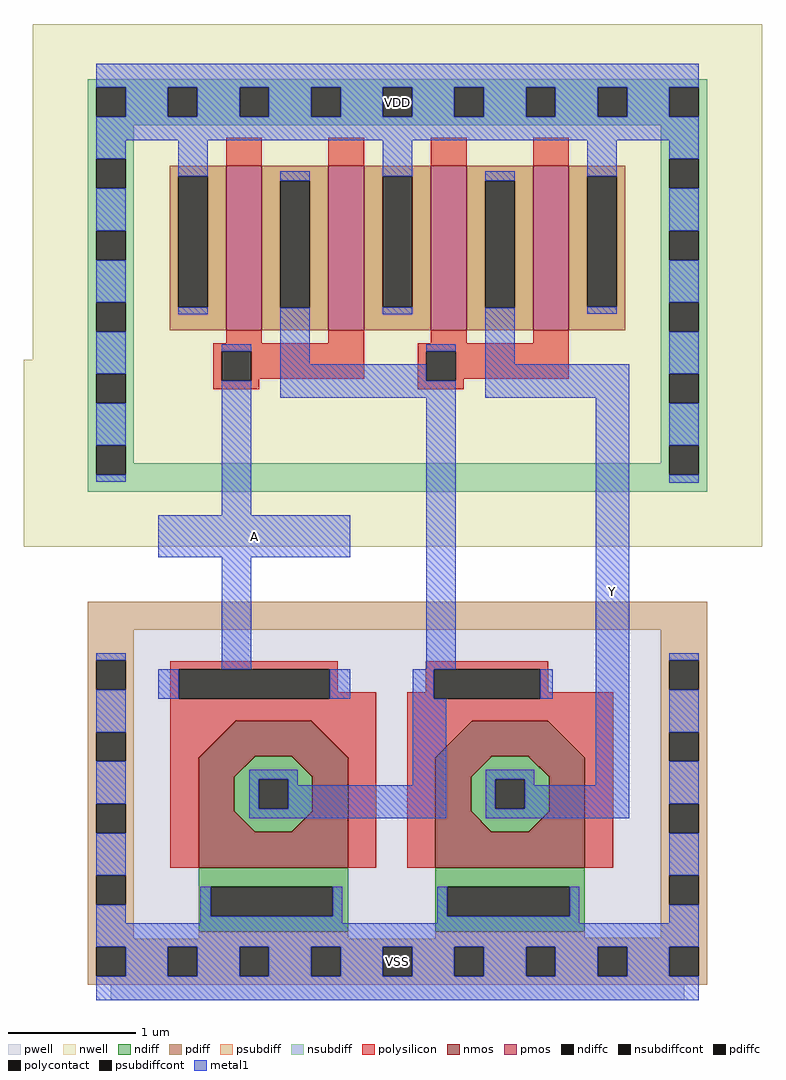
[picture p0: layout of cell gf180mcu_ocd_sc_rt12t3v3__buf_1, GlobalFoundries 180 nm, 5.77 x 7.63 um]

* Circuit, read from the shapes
.subckt gf180mcu_ocd_sc_rt12t3v3__buf_1 VDD VSS Y A
XM1 n1 A VSS VSS nfet_03v3 w=1.785u l=0.5364u
XM2 Y n1 VSS VSS nfet_03v3 w=1.785u l=0.5313u
XM3 n1 A VDD VDD pfet_03v3 w=1.285u l=0.28u m=2
XM4 Y n1 VDD VDD pfet_03v3 w=1.285u l=0.28u m=2
.ends

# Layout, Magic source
magic
tech gf180mcuD
magscale 1 10
<< nwell >>
rect -122 941 1018 1466
rect -136 649 1018 941
<< pwell >>
rect -36 -36 932 563
rect 0 -60 896 -36
<< nmos >>
tri 137 319 195 377 se
rect 195 321 313 377
rect 195 319 223 321
tri 223 319 225 321 nw
tri 283 319 285 321 ne
rect 285 319 313 321
tri 313 319 371 377 sw
rect 137 203 193 319
tri 193 289 223 319 nw
tri 285 289 315 319 ne
tri 193 203 225 235 sw
tri 283 203 315 235 se
rect 315 203 371 319
rect 137 147 371 203
tri 507 319 565 377 se
rect 565 321 683 377
rect 565 319 593 321
tri 593 319 595 321 nw
tri 653 319 655 321 ne
rect 655 319 683 321
tri 683 319 741 377 sw
rect 507 203 563 319
tri 563 289 593 319 nw
tri 655 289 685 319 ne
tri 563 203 595 235 sw
tri 653 203 685 235 se
rect 685 203 741 319
rect 507 147 741 203
<< pmos >>
rect 180 987 236 1244
rect 340 987 396 1244
rect 500 987 556 1244
rect 660 987 716 1244
<< ndiff >>
tri 223 319 225 321 se
rect 225 319 283 321
tri 283 319 285 321 sw
tri 193 289 223 319 se
rect 223 289 285 319
tri 285 289 315 319 sw
rect 193 285 315 289
rect 193 239 231 285
rect 277 239 315 285
rect 193 235 315 239
tri 193 203 225 235 ne
rect 225 203 283 235
tri 283 203 315 235 nw
tri 593 319 595 321 se
rect 595 319 653 321
tri 653 319 655 321 sw
tri 563 289 593 319 se
rect 593 289 655 319
tri 655 289 685 319 sw
rect 563 285 685 289
rect 563 239 601 285
rect 647 239 685 285
rect 563 235 685 239
tri 563 203 595 235 ne
rect 595 203 653 235
tri 653 203 685 235 nw
rect 137 117 371 147
rect 137 71 156 117
rect 347 71 371 117
rect 137 47 371 71
rect 507 117 741 147
rect 507 71 526 117
rect 717 71 741 117
rect 507 47 741 71
<< pdiff >>
rect 92 1228 180 1244
rect 92 1023 105 1228
rect 151 1023 180 1228
rect 92 987 180 1023
rect 236 1221 340 1244
rect 236 1022 265 1221
rect 311 1022 340 1221
rect 236 987 340 1022
rect 396 1228 500 1244
rect 396 1023 425 1228
rect 471 1023 500 1228
rect 396 987 500 1023
rect 556 1221 660 1244
rect 556 1022 585 1221
rect 631 1022 660 1221
rect 556 987 660 1022
rect 716 1228 804 1244
rect 716 1024 745 1228
rect 791 1024 804 1228
rect 716 987 804 1024
<< ndiffc >>
rect 231 239 277 285
rect 601 239 647 285
rect 156 71 347 117
rect 526 71 717 117
<< pdiffc >>
rect 105 1023 151 1228
rect 265 1022 311 1221
rect 425 1023 471 1228
rect 585 1022 631 1221
rect 745 1024 791 1228
<< psubdiff >>
rect -36 519 932 563
rect -36 471 36 519
rect -36 425 -23 471
rect 23 425 36 471
rect 860 471 932 519
rect -36 359 36 425
rect -36 313 -23 359
rect 23 313 36 359
rect -36 247 36 313
rect -36 201 -23 247
rect 23 201 36 247
rect -36 135 36 201
rect 860 425 873 471
rect 919 425 932 471
rect 860 359 932 425
rect 860 313 873 359
rect 919 313 932 359
rect 860 247 932 313
rect 860 201 873 247
rect 919 201 932 247
rect -36 89 -23 135
rect 23 89 36 135
rect -36 36 36 89
rect 137 36 371 47
rect 507 37 741 47
rect 860 135 932 201
rect 860 89 873 135
rect 919 89 932 135
rect 860 37 932 89
rect 507 36 932 37
rect -36 23 932 36
rect -36 -23 -23 23
rect 23 -23 89 23
rect 135 -23 201 23
rect 247 -23 313 23
rect 359 -23 425 23
rect 471 -23 537 23
rect 583 -23 649 23
rect 695 -23 761 23
rect 807 -23 873 23
rect 919 -23 932 23
rect -36 -36 932 -23
<< nsubdiff >>
rect -36 1367 932 1380
rect -36 1321 -23 1367
rect 23 1321 89 1367
rect 135 1321 201 1367
rect 247 1321 313 1367
rect 359 1321 425 1367
rect 471 1321 537 1367
rect 583 1321 649 1367
rect 695 1321 761 1367
rect 807 1321 873 1367
rect 919 1321 932 1367
rect -36 1308 932 1321
rect -36 1255 36 1308
rect -36 1209 -23 1255
rect 23 1209 36 1255
rect 860 1255 932 1308
rect -36 1143 36 1209
rect -36 1097 -23 1143
rect 23 1097 36 1143
rect -36 1031 36 1097
rect -36 985 -23 1031
rect 23 985 36 1031
rect 860 1209 873 1255
rect 919 1209 932 1255
rect 860 1143 932 1209
rect 860 1097 873 1143
rect 919 1097 932 1143
rect 860 1031 932 1097
rect -36 919 36 985
rect -36 873 -23 919
rect 23 873 36 919
rect 860 985 873 1031
rect 919 985 932 1031
rect 860 919 932 985
rect -36 807 36 873
rect -36 761 -23 807
rect 23 779 36 807
rect 860 873 873 919
rect 919 873 932 919
rect 860 807 932 873
rect 860 779 873 807
rect 23 761 873 779
rect 919 761 932 807
rect -36 735 932 761
<< psubdiffcont >>
rect -23 425 23 471
rect -23 313 23 359
rect -23 201 23 247
rect 873 425 919 471
rect 873 313 919 359
rect 873 201 919 247
rect -23 89 23 135
rect 873 89 919 135
rect -23 -23 23 23
rect 89 -23 135 23
rect 201 -23 247 23
rect 313 -23 359 23
rect 425 -23 471 23
rect 537 -23 583 23
rect 649 -23 695 23
rect 761 -23 807 23
rect 873 -23 919 23
<< nsubdiffcont >>
rect -23 1321 23 1367
rect 89 1321 135 1367
rect 201 1321 247 1367
rect 313 1321 359 1367
rect 425 1321 471 1367
rect 537 1321 583 1367
rect 649 1321 695 1367
rect 761 1321 807 1367
rect 873 1321 919 1367
rect -23 1209 23 1255
rect -23 1097 23 1143
rect -23 985 23 1031
rect 873 1209 919 1255
rect 873 1097 919 1143
rect -23 873 23 919
rect 873 985 919 1031
rect -23 761 23 807
rect 873 873 919 919
rect 873 761 919 807
<< polysilicon >>
rect 180 1244 236 1288
rect 340 1244 396 1288
rect 500 1244 556 1288
rect 660 1244 716 1288
rect 180 967 236 987
rect 340 967 396 987
rect 500 967 556 987
rect 660 967 716 987
rect 160 954 396 967
rect 160 908 173 954
rect 219 911 396 954
rect 480 954 716 967
rect 219 908 232 911
rect 160 895 232 908
rect 480 908 493 954
rect 539 911 716 954
rect 539 908 552 911
rect 480 895 552 908
rect 93 457 355 470
rect 93 411 106 457
rect 342 421 355 457
rect 492 457 684 470
rect 492 421 505 457
rect 342 411 415 421
rect 93 377 415 411
rect 93 147 137 377
tri 137 319 195 377 nw
tri 313 319 371 377 ne
rect 371 147 415 377
rect 463 411 505 421
rect 671 421 684 457
rect 671 411 785 421
rect 463 377 785 411
rect 463 147 507 377
tri 507 319 565 377 nw
tri 683 319 741 377 ne
rect 741 147 785 377
<< polycontact >>
rect 173 908 219 954
rect 493 908 539 954
rect 106 411 342 457
rect 505 411 671 457
<< metal1 >>
rect -23 1367 919 1404
rect 23 1321 89 1367
rect 135 1321 201 1367
rect 247 1321 313 1367
rect 359 1321 425 1367
rect 471 1321 537 1367
rect 583 1321 649 1367
rect 695 1321 761 1367
rect 807 1321 873 1367
rect -23 1284 919 1321
rect -23 1255 23 1284
rect -23 1143 23 1209
rect -23 1031 23 1097
rect 105 1228 151 1284
rect 105 1012 151 1023
rect 265 1221 311 1236
rect -23 919 23 985
rect -23 807 23 873
rect -23 750 23 761
rect 173 954 219 965
rect 173 698 219 908
rect 265 934 311 1022
rect 425 1228 471 1284
rect 425 1012 471 1023
rect 585 1221 631 1236
rect 493 954 539 965
rect 265 908 493 934
rect 265 882 539 908
rect 585 934 631 1022
rect 745 1228 791 1284
rect 745 1013 791 1024
rect 873 1255 919 1284
rect 873 1143 919 1209
rect 873 1031 919 1097
rect 585 882 810 934
rect 74 632 374 698
rect -23 471 23 482
rect 173 457 219 632
rect 493 457 539 882
rect -23 359 23 425
rect 74 411 106 457
rect 342 411 374 457
rect 472 411 505 457
rect 671 411 691 457
rect -23 247 23 313
rect 216 285 292 300
rect 216 239 231 285
rect 277 276 292 285
rect 472 276 524 411
rect 277 239 524 276
rect 216 224 524 239
rect 586 285 662 300
rect 586 239 601 285
rect 647 276 662 285
rect 758 276 810 882
rect 873 919 919 985
rect 873 807 919 873
rect 873 749 919 761
rect 647 239 810 276
rect 586 224 810 239
rect 873 471 919 482
rect 873 359 919 425
rect 873 247 919 313
rect -23 135 23 201
rect 873 135 919 201
rect -23 60 23 89
rect 140 71 156 117
rect 347 71 362 117
rect 140 60 362 71
rect 510 71 526 117
rect 717 71 732 117
rect 510 60 732 71
rect 873 60 919 89
rect -23 23 919 60
rect 23 -23 89 23
rect 135 -23 201 23
rect 247 -23 313 23
rect 359 -23 425 23
rect 471 -23 537 23
rect 583 -23 649 23
rect 695 -23 761 23
rect 807 -23 873 23
rect -23 -60 919 -23
<< labels >>
flabel metal1 s 0 -60 896 60 0 FreeSans 400 0 0 0 VSS
port 4 nsew ground bidirectional abutment
flabel metal1 s 758 224 810 934 0 FreeSans 320 0 0 0 Y
port 8 nsew
flabel metal1 s 0 1284 896 1404 0 FreeSans 400 0 0 0 VDD
port 1 nsew power bidirectional abutment
flabel metal1 s 74 632 374 698 0 FreeSans 320 0 0 0 A
port 10 nsew
<< properties >>
string FIXED_BBOX 0 0 896 1344
<< end >>
